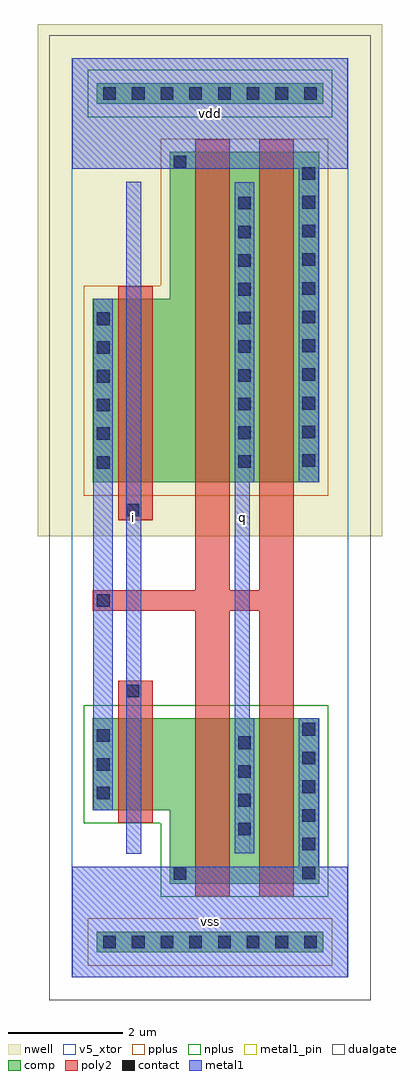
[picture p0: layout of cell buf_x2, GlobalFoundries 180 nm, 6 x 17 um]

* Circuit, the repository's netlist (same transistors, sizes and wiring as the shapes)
* buf_x2
.subckt buf_x2 vdd vss i q
Mn1 ni i vss vss nfet_06v0 l=0.6um w=1.6um
Mn2_0 vss ni q vss nfet_06v0 l=0.6um w=2.88um
Mn2_1 q ni vss vss nfet_06v0 l=0.6um w=2.88um
Mp1 ni i vdd vdd pfet_06v0 l=0.6um w=3.2um
Mp2_0 vdd ni q vdd pfet_06v0 l=0.6um w=5.76um
Mp2_1 q ni vdd vdd pfet_06v0 l=0.6um w=5.76um
.ends buf_x2

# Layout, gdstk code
import gdstk
lib = gdstk.Library(unit=1e-6, precision=1e-09)
def R(c, l, rs):  # rectangles x0, y0, x1, y1
    for r in rs: c.add(gdstk.rectangle(r[:2], r[2:], *l))
def A(c, l, x, y, w, h, nx, ny, dx, dy):  # array of equal rectangles
    R(c, l, [(x+i*dx, y+j*dy, x+i*dx+w, y+j*dy+h) for i in range(nx) for j in range(ny)])
def P(c, l, *ps):  # polygons
    for p in ps: c.add(gdstk.Polygon(p, *l))
nwell = (21, 0)
comp = (22, 0)
poly2 = (30, 0)
pplus = (31, 0)
nplus = (32, 0)
contact = (33, 0)
metal1 = (34, 0)
metal1_pin = (34, 10)
dualgate = (55, 0)
v5_xtor = (112, 1)

buf_x2 = lib.new_cell('buf_x2')
R(buf_x2, nwell, [(-0.6,7.68,5.4,16.6)])
R(buf_x2, comp, [(0.43,0.43,4.37,0.79), (0.43,15.21,4.37,15.57)])
P(buf_x2, comp, [(0.36,8.615),(0.36,11.815),(1.7,11.815),(1.7,14.375),(4.3,14.375),(4.3,8.615)],
  [(1.7,1.625),(1.7,2.905),(0.36,2.905),(0.36,4.505),(4.3,4.505),(4.3,1.625)])
R(buf_x2, poly2, [(0.8,2.685,1.4,5.165), (0.8,7.955,1.4,12.035)])
P(buf_x2, poly2, [(2.14,1.405),(2.14,6.38),(0.36,6.38),(0.36,6.74),(2.14,6.74),(2.14,14.595),(2.74,14.595),(2.74,6.74),(3.26,6.74),(3.26,14.595),(3.86,14.595),(3.86,1.405),(3.26,1.405),(3.26,6.38),(2.74,6.38),(2.74,1.405)])
R(buf_x2, pplus, [(0.27,0.2,4.53,1.02)])
P(buf_x2, pplus, [(0.2,8.385),(0.2,12.045),(1.54,12.045),(1.54,14.605),(4.46,14.605),(4.46,8.385)])
R(buf_x2, nplus, [(0.27,14.98,4.53,15.8)])
P(buf_x2, nplus, [(1.54,1.395),(1.54,2.675),(0.2,2.675),(0.2,4.735),(4.46,4.735),(4.46,1.395)])
A(buf_x2, contact, 0.54, 0.5, 0.22, 0.22, 8, 2, 0.5, 14.78)
A(buf_x2, contact, 4.01, 1.705, 0.22, 0.22, 1, 6, 0, 0.5)
A(buf_x2, contact, 2.89, 2.47, 0.22, 0.22, 1, 4, 0, 0.5)
A(buf_x2, contact, 0.43, 3.095, 0.22, 0.22, 1, 3, 0, 0.5)
A(buf_x2, contact, 0.43, 8.855, 0.22, 0.22, 1, 6, 0, 0.5)
A(buf_x2, contact, 2.89, 8.87, 0.22, 0.22, 1, 10, 0, 0.5)
A(buf_x2, contact, 4.01, 8.885, 0.22, 0.22, 1, 11, 0, 0.5)
R(buf_x2, contact, [(1.77,1.695,1.99,1.915), (0.945,4.875,1.165,5.095), (0.43,6.45,0.65,6.67), (0.945,8.025,1.165,8.245), (1.77,14.085,1.99,14.305)])
R(buf_x2, metal1, [(0.94,2.15,1.2,13.85), (0.37,2.905,0.71,11.815)])
P(buf_x2, metal1, [(3.95,8.615),(3.95,14.08),(0,14.08),(0,16),(4.8,16),(4.8,14.08),(4.29,14.08),(4.29,8.615)],
  [(0,0),(0,1.92),(3.95,1.92),(3.95,4.505),(4.29,4.505),(4.29,1.92),(4.8,1.92),(4.8,0)],
  [(2.83,2.155),(2.83,13.845),(3.17,13.845),(3.17,8.615),(3.09,8.615),(3.09,4.505),(3.17,4.505),(3.17,2.155)])
R(buf_x2, metal1_pin, [(0,0,4.8,1.92), (0.94,2.15,1.2,13.85), (2.83,2.155,3.09,13.845), (0,14.08,4.8,16)])
R(buf_x2, dualgate, [(-0.4,-0.4,5.2,16.4)])
R(buf_x2, v5_xtor, [(-0.005,-0.005,4.805,16.005)])
buf_x2.add(gdstk.Label('vdd', (2.4,15.04), layer=34, texttype=10))
buf_x2.add(gdstk.Label('vss', (2.4,0.96), layer=34, texttype=10))
buf_x2.add(gdstk.Label('i', (1.07,8), layer=34, texttype=10))
buf_x2.add(gdstk.Label('q', (2.96,8), layer=34, texttype=10))

lib.write_gds('buf_x2.gds')
